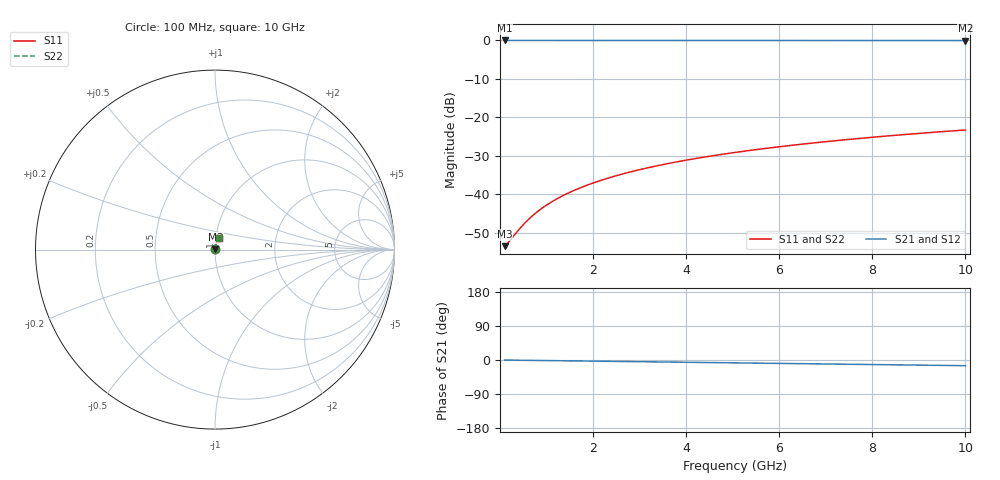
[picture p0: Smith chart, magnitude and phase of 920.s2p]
# Hz S RI R 50.00
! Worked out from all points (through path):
!   100 points, 100 MHz to 10 GHz, reference 50 ohm
!   highest |S21| = -0.02 dB at 100 MHz (marker M1); lowest = 0.0 dB at 10 GHz (marker M2)
!   group delay of S21, straight-line fit = 4.17 ps
!   lowest |S11| = -53.5 dB at 100 MHz (marker M3), VSWR 1.00, Z = 50.2 + j0.0691 ohm
!   |S11| at or under -10 dB: start of sweep to end of sweep
!   |S22| runs from -53.5 to -23.3 dB; largest |S21 - S12| = 0
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1e8  0.002 0.000688  0.998 -0.00261  0.998 -0.00261  0.002 0.000688
2e8  0.00202 0.00138  0.998 -0.00522  0.998 -0.00522  0.00202 0.00138
4e8  0.00206 0.00275  0.9979 -0.0104  0.9979 -0.0104  0.00206 0.00275
5e8  0.00208 0.00344  0.9979 -0.013  0.9979 -0.013  0.00208 0.00344
6e8  0.0021 0.00413  0.9978 -0.0157  0.9978 -0.0157  0.0021 0.00413
7e8  0.00213 0.00482  0.9978 -0.0183  0.9978 -0.0183  0.00213 0.00482
9e8  0.0022 0.00619  0.9976 -0.0235  0.9976 -0.0235  0.0022 0.00619
1.1e9  0.00228 0.00756  0.9975 -0.0287  0.9975 -0.0287  0.00228 0.00756
1.3e9  0.00237 0.00894  0.9973 -0.0339  0.9973 -0.0339  0.00237 0.00894
1.5e9  0.00248 0.0103  0.9971 -0.0391  0.9971 -0.0391  0.00248 0.0103
1.8e9  0.00266 0.0124  0.9967 -0.047  0.9967 -0.047  0.00266 0.0124
2.1e9  0.00288 0.0144  0.9963 -0.0548  0.9963 -0.0548  0.00288 0.0144
2.5e9  0.00322 0.0171  0.9956 -0.0652  0.9956 -0.0652  0.00322 0.0171
2.9e9  0.00361 0.0199  0.9948 -0.0756  0.9948 -0.0756  0.00361 0.0199
3.4e9  0.00419 0.0233  0.9936 -0.0886  0.9936 -0.0886  0.00419 0.0233
4.2e9  0.00529 0.0286  0.9914 -0.1094  0.9914 -0.1094  0.00529 0.0286
5.1e9  0.00679 0.0346  0.9883 -0.1327  0.9883 -0.1327  0.00679 0.0346
5.9e9  0.00837 0.0399  0.9851 -0.1533  0.9851 -0.1533  0.00837 0.0399
6.7e9  0.0102 0.0451  0.9814 -0.1739  0.9814 -0.1739  0.0102 0.0451
7.5e9  0.0122 0.0502  0.9772 -0.1944  0.9772 -0.1944  0.0122 0.0502
8.4e9  0.0147 0.0559  0.972 -0.2173  0.972 -0.2173  0.0147 0.0559
1e10  0.0198 0.0656  0.9614 -0.2577  0.9614 -0.2577  0.0198 0.0656
